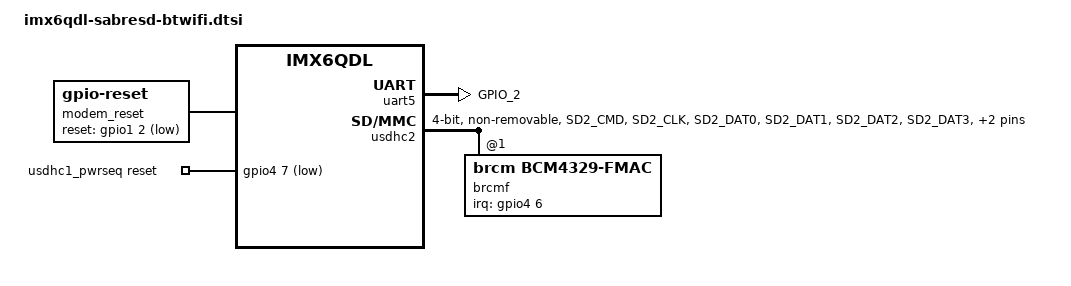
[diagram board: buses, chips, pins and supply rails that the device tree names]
/*
 * Copyright (C) 2015 Freescale Semiconductor, Inc.
 * Copyright 2019 NXP
 *
 * This program is free software; you can redistribute it and/or modify
 * it under the terms of the GNU General Public License version 2 as
 * published by the Free Software Foundation.
 */

/*
 * NOTE: This DTS file is wrote for plugging in Murata 1MW M.2
 * into SD2 slot by using Murata uSD-to-M.2 Adapter.
 *
 * By default, OOB IRQ is enabled with below HW rework.
 * HW rework:
 *	Install R209,R210,R211,R212,R213,R214,R215 on SDB board.
 */

/ {
	leds {
		compatible = "gpio-leds";
		status = "disabled";
	};

	modem_reset: modem-reset {
		compatible = "gpio-reset";
		reset-gpios = <&gpio1 2 GPIO_ACTIVE_LOW>;
		reset-delay-us = <1000>;
		#reset-cells = <0>;
	};

	usdhc1_pwrseq: usdhc1_pwrseq {
		compatible = "mmc-pwrseq-simple";
		reset-gpios = <&gpio4 7 GPIO_ACTIVE_LOW>;
	};
};

&ecspi1 {
	status = "disabled";
};

&iomuxc {
	imx6qdl-sabresd-murata-v2 {
		pinctrl_btreg: btreggrp {
			fsl,pins = <
				MX6QDL_PAD_GPIO_2__GPIO1_IO02 0x1b0b0
			>;
		};

		/* add MUXing entry for SD2 4-bit interface and configure control pins */
		pinctrl_wifi: wifigrp {
			fsl,pins = <
				MX6QDL_PAD_SD2_CMD__SD2_CMD		0x17059
				MX6QDL_PAD_SD2_CLK__SD2_CLK		0x10059
				MX6QDL_PAD_SD2_DAT0__SD2_DATA0		0x17059
				MX6QDL_PAD_SD2_DAT1__SD2_DATA1		0x17059
				MX6QDL_PAD_SD2_DAT2__SD2_DATA2		0x17059
				MX6QDL_PAD_SD2_DAT3__SD2_DATA3		0x17059
				MX6QDL_PAD_KEY_ROW0__GPIO4_IO07		0x13069	/* WL_REG_ON */
				MX6QDL_PAD_KEY_COL0__GPIO4_IO06		0x0b001	/* WL_HOST_WAKE */
			>;
		};
	};
};

&pinctrl_gpio_leds {
	fsl,pins = <
	>;
};

&uart5 {
	pinctrl-names = "default";
	pinctrl-0 = <&pinctrl_uart5_1
		     &pinctrl_btreg>;
	fsl,uart-has-rtscts;
	resets = <&modem_reset>;
	status = "okay";
	/* for DTE mode, add below change */
	/* fsl,dte-mode; */
	/* pinctrl-0 = <&pinctrl_uart5dte_1>; */
};

&usdhc2 {
	#address-cells = <1>;
	#size-cells = <0>;
	pinctrl-names = "default";
	pinctrl-0 = <&pinctrl_wifi>;
	bus-width = <4>;
	no-1-8-v;
	non-removable;
	keep-power-in-suspend;
	mmc-pwrseq = <&usdhc1_pwrseq>;
	pm-ignore-notify;
	cap-power-off-card;
	/delete-property/ enable-sdio-wakeup;

	brcmf: bcrmf@1 {
		reg = <1>;
		compatible = "brcm,bcm4329-fmac";
		interrupt-parent = <&gpio4>;
		interrupts = <6 IRQ_TYPE_LEVEL_LOW>;
		interrupt-names = "host-wake";
	};
};
